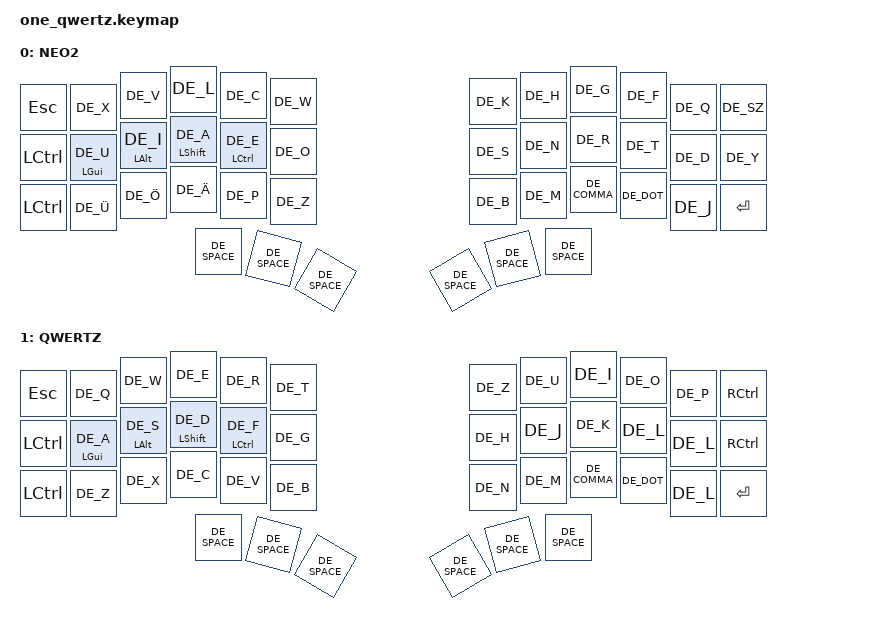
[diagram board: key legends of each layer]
// This file was generated from a template. Edit it to match your keyboard.
// See https://zmk.dev/docs/development/hardware-integration/new-shield for more instructions.

#include <behaviors.dtsi>
#include <dt-bindings/zmk/keys.h>
#include <dt-bindings/zmk/bt.h>
#include <locale/keys_de.h>

#define NEO2 0
#define QWER 1
#define BONE 2
#define SPCL 3
#define CTRL 4
#define FUNC 5

&lt {  // other layer on hold
  quick-tap-ms = <200>;
}
&mt {  // other keypress on hold
  quick-tap-ms = <200>;
}

/ {
    // Define a default keymap here.
    // See https://zmk.dev/docs/development/hardware-integration/new-shield#default-keymap.
    keymap {
        compatible = "zmk,keymap";

/*                                                   &lt RSE TAB   &mt LSHFT SPACE   &lt LWR RET   &lt LWR ESC   &mt RSHFT BSPC   &lt RSE DEL */
        default_layer {
            display-name = "NEO2";
            bindings = <
                &kp ESC     &kp DE_X        &kp DE_V        &kp DE_L         &kp DE_C         &kp DE_W       /**/   &kp DE_K       &kp DE_H       &kp DE_G       &kp DE_F     &kp DE_Q   &kp DE_SZ
                &kp LCTRL   &mt LGUI DE_U   &mt LALT DE_I   &mt LSHFT DE_A   &mt LCTRL DE_E   &kp DE_O       /**/   &kp DE_S       &kp DE_N       &kp DE_R       &kp DE_T     &kp DE_D   &kp DE_Y 
                &kp LCTRL   &kp DE_Ü        &kp DE_Ö        &kp DE_Ä         &kp DE_P         &kp DE_Z       /**/   &kp DE_B       &kp DE_M       &kp DE_COMMA   &kp DE_DOT   &kp DE_J   &kp RET  
                /**/        /**/            /**/            &kp DE_SPACE     &kp DE_SPACE     &kp DE_SPACE   /**/   &kp DE_SPACE   &kp DE_SPACE   &kp DE_SPACE   /**/         /**/       /**/     
            >;
        };
        qwertz_layer {
            display-name = "QWERTZ";
            bindings = <
                &kp ESC     &kp DE_Q        &kp DE_W        &kp DE_E         &kp DE_R         &kp DE_T       /**/   &kp DE_Z       &kp DE_U       &kp DE_I       &kp DE_O     &kp DE_P   &kp RCTRL
                &kp LCTRL   &mt LGUI DE_A   &mt LALT DE_S   &mt LSHFT DE_D   &mt LCTRL DE_F   &kp DE_G       /**/   &kp DE_H       &kp DE_J       &kp DE_K       &kp DE_L     &kp DE_L   &kp RCTRL
                &kp LCTRL   &kp DE_Z        &kp DE_X        &kp DE_C         &kp DE_V         &kp DE_B       /**/   &kp DE_N       &kp DE_M       &kp DE_COMMA   &kp DE_DOT   &kp DE_L   &kp RET  
                /**/        /**/            /**/            &kp DE_SPACE     &kp DE_SPACE     &kp DE_SPACE   /**/   &kp DE_SPACE   &kp DE_SPACE   &kp DE_SPACE   /**/         /**/       /**/     
            >;
        };
    };
};

/* #include <behaviors.dtsi> */
/* #include <dt-bindings/zmk/keys.h> */
/* #include <dt-bindings/zmk/bt.h> */
/**/
/* #define DEF 0 */
/* #define LWR 1 */
/* #define RSE 2 */
/* #define ADJ 3 */
/**/
/* &lt { */
/*     quick-tap-ms = <200>; */
/* }; */
/**/
/* &mt { */
/*     quick-tap-ms = <200>; */
/* }; */
/**/
/* / { */
/*     conditional_layers { */
/*         compatible = "zmk,conditional-layers"; */
/**/
/*         tri-layer { */
/*             if-layers = <LWR RSE>; */
/*             then-layer = <ADJ>; */
/*         }; */
/*     }; */
/**/
/*     keymap { */
/*         compatible = "zmk,keymap"; */
/**/
/*         default_layer { */
/*             display-name = "MAIN"; */
/*             bindings = < */
/*                 &mt LGUI RBKT     &kp Q   &kp W   &kp E         &kp R             &kp T         &kp Y         &kp U            &kp I         &kp O     &kp P      &kp LBKT        */
/*                 &mt LCTRL GRAVE   &kp A   &kp S   &kp D         &kp F             &kp G         &kp H         &kp J            &kp K         &kp L     &kp SEMI   &mt RCTRL SQT */
/*                 &mt LALT MINUS    &kp Z   &kp X   &kp C         &kp V             &kp B         &kp N         &kp M            &kp COMMA     &kp DOT   &kp FSLH   &mt RALT BSLH */
/*                                                   &lt RSE TAB   &mt LSHFT SPACE   &lt LWR RET   &lt LWR ESC   &mt RSHFT BSPC   &lt RSE DEL */
/*             >; */
/*         }; */
/*         lower_layer { */
/*             display-name = "SYM"; */
/*             bindings = < */
/*                 &mt LGUI F1      &kp F2     &kp F3   &kp F4        &kp F5     &kp F6      &kp F7      &kp F8     &kp F9        &kp F10    &kp F11    &kp F12            */
/*                 &mt LCTRL PLUS   &kp EXCL   &kp AT   &kp HASH      &kp DLLR   &kp PRCNT   &kp CARET   &kp AMPS   &kp STAR      &kp LPAR   &kp RPAR   &mt RCTRL MINUS */
/*                 &mt LALT EQUAL   &kp N1     &kp N2   &kp N3        &kp N4     &kp N5      &kp N6      &kp N7     &kp N8        &kp N9     &kp N0     &kp RALT */
/*                                                      &trans        &trans     &trans      &trans      &trans     &trans */
/*             >; */
/*         }; */
/**/
/*         raise_layer { */
/*             display-name = "NUM"; */
/*             bindings = < */
/*                 &mt LGUI KP_NUM   &kp KP_SLASH      &kp KP_N7   &kp KP_N8   &kp KP_N9   &kp KP_MINUS   &kp C_VOL_UP   &kp HOME   &kp PSCRN   &kp PG_UP   &kp SLCK          &kp CLCK */
/*                 &mt LCTRL EQUAL   &kp KP_MULTIPLY   &kp KP_N4   &kp KP_N5   &kp KP_N6   &kp KP_PLUS    &kp C_MUTE     &kp LEFT   &kp UP      &kp RIGHT   &kp INS           &mt RCTRL  K_APP */
/*                 &kp LALT          &kp KP_N0         &kp KP_N1   &kp KP_N2   &kp KP_N3   &kp KP_DOT     &kp C_VOL_DN   &kp END    &kp DOWN    &kp PG_DN   &kp PAUSE_BREAK   &kp RALT */
/*                                                                 &trans      &trans      &trans         &trans         &trans     &trans */
/*             >; */
/*         }; */
/*         adjust_layer { */
/*             display-name = "ADJ"; */
/*             bindings = < */
/*                 &bootloader   &studio_unlock &none          &none          &none          &none          &none          &none          &none          &none          &studio_unlock &bootloader */
/*                 &bt BT_CLR    &bt BT_SEL 0   &bt BT_SEL 1   &bt BT_SEL 2   &bt BT_SEL 3   &bt BT_SEL 4   &bt BT_SEL 4   &bt BT_SEL 3   &bt BT_SEL 2   &bt BT_SEL 1   &bt BT_SEL 0   &bt BT_CLR */
/*                 &sys_reset    &none          &none          &none          &none          &none          &none          &none          &none          &none          &none          &sys_reset */
/*                                                             &trans         &none          &trans         &none          &trans         &trans */
/*             >; */
/*         }; */
/*     }; */
/* }; */
